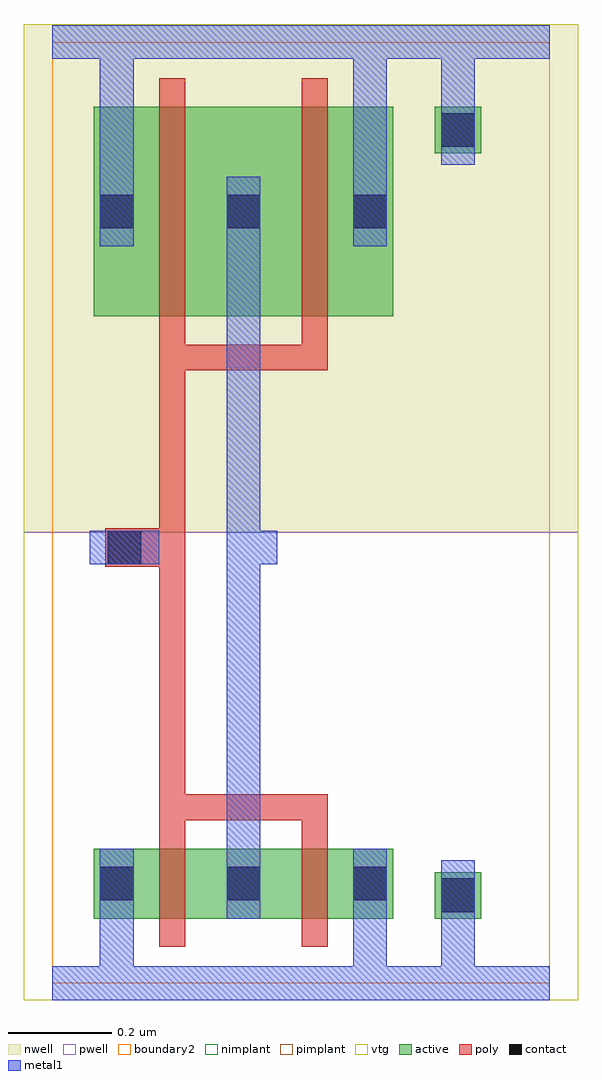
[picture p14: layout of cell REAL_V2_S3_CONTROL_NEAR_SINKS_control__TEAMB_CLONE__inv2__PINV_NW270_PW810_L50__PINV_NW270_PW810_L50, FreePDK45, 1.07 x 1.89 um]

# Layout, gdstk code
import gdstk
lib = gdstk.Library(unit=1e-6, precision=5e-10)
def R(c, l, rs):  # rectangles x0, y0, x1, y1
    for r in rs: c.add(gdstk.rectangle(r[:2], r[2:], *l))
active = (1, 0)
pwell = (2, 0)
nwell = (3, 0)
nimplant = (4, 0)
pimplant = (5, 0)
vtg = (6, 0)
poly = (9, 0)
contact = (10, 0)
metal1 = (11, 0)
boundary2 = (239, 0)

real_v2_s3_control_near_ = lib.new_cell('REAL_V2_S3_CONTROL_NEAR_SINKS_control__TEAMB_CLONE__inv2__PINV_NW270_PW810_L50__TRANSMISSION_GATE_NW250_PW500_L50_contact_8')
R(real_v2_s3_control_near_, active, [(0,0.0225,0.09,0.1125), (0,0.0225,0.09,0.1125)])
R(real_v2_s3_control_near_, nwell, [(-0.055,-0.0325,0.145,0.1675), (-0.055,-0.0325,0.145,0.1675)])
R(real_v2_s3_control_near_, pimplant, [(0,0.0225,0.09,0.1125), (0,0.0225,0.09,0.1125)])
R(real_v2_s3_control_near_, contact, [(0.0125,0.035,0.0775,0.1), (0.0125,0.035,0.0775,0.1)])
R(real_v2_s3_control_near_, metal1, [(0.0125,0,0.0775,0.135), (0.0125,0,0.0775,0.135)])
R(real_v2_s3_control_near_, boundary2, [(-0.055,-0.0325,0.145,0.1675), (-0.055,-0.0325,0.145,0.1675)])

c_real_v2_s3_control_near_ = lib.new_cell('REAL_V2_S3_CONTROL_NEAR_SINKS_control__TEAMB_CLONE__inv2__PINV_NW270_PW810_L50__PINV_NW270_PW810_L50_pmos_m2_w0_405_sm1_dm1_da_p')
R(c_real_v2_s3_control_near_, active, [(0,0,0.58,0.405), (0,0,0.58,0.405)])
R(c_real_v2_s3_control_near_, nwell, [(-0.08,-0.08,0.66,0.485), (-0.08,-0.08,0.66,0.485)])
R(c_real_v2_s3_control_near_, pimplant, [(0,0,0.58,0.405), (0,0,0.58,0.405)])
R(c_real_v2_s3_control_near_, vtg, [(-0.08,-0.08,0.66,0.485), (-0.08,-0.08,0.66,0.485)])
R(c_real_v2_s3_control_near_, poly, [(0.1275,-0.105,0.4525,-0.055), (0.1275,-0.105,0.4525,-0.055), (0.1275,-0.055,0.1775,0.46), (0.1275,-0.055,0.1775,0.46), (0.4025,-0.055,0.4525,0.46), (0.4025,-0.055,0.4525,0.46)])
R(c_real_v2_s3_control_near_, metal1, [(0.0125,0.135,0.0775,0.27), (0.0125,0.135,0.0775,0.27), (0.2575,0.135,0.3225,0.27), (0.2575,0.135,0.3225,0.27), (0.5025,0.135,0.5675,0.27), (0.5025,0.135,0.5675,0.27)])
R(c_real_v2_s3_control_near_, boundary2, [(-0.08,-0.105,0.66,0.485), (-0.08,-0.105,0.66,0.485)])
c_real_v2_s3_control_near_.add(gdstk.Reference(real_v2_s3_control_near_, (0,0.135)))
c_real_v2_s3_control_near_.add(gdstk.Reference(real_v2_s3_control_near_, (0.245,0.135)))
c_real_v2_s3_control_near_.add(gdstk.Reference(real_v2_s3_control_near_, (0.49,0.135)))

c_real_v2_s3_control_near__ = lib.new_cell('REAL_V2_S3_CONTROL_NEAR_SINKS_control__TEAMB_CLONE__inv2__PINV_NW270_PW810_L50__TRANSMISSION_GATE_NW250_PW500_L50_contact_7')
R(c_real_v2_s3_control_near__, active, [(0,0.0225,0.09,0.1125), (0,0.0225,0.09,0.1125)])
R(c_real_v2_s3_control_near__, pwell, [(-0.055,-0.0325,0.145,0.1675), (-0.055,-0.0325,0.145,0.1675)])
R(c_real_v2_s3_control_near__, nimplant, [(0,0.0225,0.09,0.1125), (0,0.0225,0.09,0.1125)])
R(c_real_v2_s3_control_near__, contact, [(0.0125,0.035,0.0775,0.1), (0.0125,0.035,0.0775,0.1)])
R(c_real_v2_s3_control_near__, metal1, [(0.0125,0,0.0775,0.135), (0.0125,0,0.0775,0.135)])
R(c_real_v2_s3_control_near__, boundary2, [(-0.055,-0.0325,0.145,0.1675), (-0.055,-0.0325,0.145,0.1675)])

c_real_v2_s3_control_near___ = lib.new_cell('REAL_V2_S3_CONTROL_NEAR_SINKS_control__TEAMB_CLONE__inv2__PINV_NW270_PW810_L50__PINV_NW270_PW810_L50_nmos_m2_w0_135_sm1_dm1_da_p')
R(c_real_v2_s3_control_near___, active, [(0,0,0.58,0.135), (0,0,0.58,0.135)])
R(c_real_v2_s3_control_near___, pwell, [(-0.08,-0.08,0.66,0.215), (-0.08,-0.08,0.66,0.215)])
R(c_real_v2_s3_control_near___, nimplant, [(0,0,0.58,0.135), (0,0,0.58,0.135)])
R(c_real_v2_s3_control_near___, vtg, [(-0.08,-0.08,0.66,0.215), (-0.08,-0.08,0.66,0.215)])
R(c_real_v2_s3_control_near___, poly, [(0.1275,-0.055,0.1775,0.19), (0.1275,-0.055,0.1775,0.19), (0.4025,-0.055,0.4525,0.19), (0.4025,-0.055,0.4525,0.19), (0.1275,0.19,0.4525,0.24), (0.1275,0.19,0.4525,0.24)])
R(c_real_v2_s3_control_near___, metal1, [(0.0125,0,0.0775,0.135), (0.0125,0,0.0775,0.135), (0.2575,0,0.3225,0.135), (0.2575,0,0.3225,0.135), (0.5025,0,0.5675,0.135), (0.5025,0,0.5675,0.135)])
R(c_real_v2_s3_control_near___, boundary2, [(-0.08,-0.08,0.66,0.24), (-0.08,-0.08,0.66,0.24)])
c_real_v2_s3_control_near___.add(gdstk.Reference(c_real_v2_s3_control_near__, (0,0)))
c_real_v2_s3_control_near___.add(gdstk.Reference(c_real_v2_s3_control_near__, (0.245,0)))
c_real_v2_s3_control_near___.add(gdstk.Reference(c_real_v2_s3_control_near__, (0.49,0)))

c_real_v2_s3_control_near____ = lib.new_cell('REAL_V2_S3_CONTROL_NEAR_SINKS_control__TEAMB_CLONE__inv2__PINV_NW270_PW810_L50__TRANSMISSION_GATE_NW250_PW500_L50_contact_9')
R(c_real_v2_s3_control_near____, active, [(0,0.0225,0.09,0.1125), (0,0.0225,0.09,0.1125)])
R(c_real_v2_s3_control_near____, nwell, [(-0.055,-0.0325,0.145,0.1675), (-0.055,-0.0325,0.145,0.1675)])
R(c_real_v2_s3_control_near____, nimplant, [(0,0.0225,0.09,0.1125), (0,0.0225,0.09,0.1125)])
R(c_real_v2_s3_control_near____, contact, [(0.0125,0.035,0.0775,0.1), (0.0125,0.035,0.0775,0.1)])
R(c_real_v2_s3_control_near____, metal1, [(0.0125,0,0.0775,0.135), (0.0125,0,0.0775,0.135)])
R(c_real_v2_s3_control_near____, boundary2, [(-0.055,-0.0325,0.145,0.1675), (-0.055,-0.0325,0.145,0.1675)])

c_real_v2_s3_control_near_____ = lib.new_cell('REAL_V2_S3_CONTROL_NEAR_SINKS_control__TEAMB_CLONE__inv2__PINV_NW270_PW810_L50__TRANSMISSION_GATE_NW250_PW500_L50_contact_10')
R(c_real_v2_s3_control_near_____, active, [(0,0.0225,0.09,0.1125), (0,0.0225,0.09,0.1125)])
R(c_real_v2_s3_control_near_____, pwell, [(-0.055,-0.0325,0.145,0.1675), (-0.055,-0.0325,0.145,0.1675)])
R(c_real_v2_s3_control_near_____, pimplant, [(0,0.0225,0.09,0.1125), (0,0.0225,0.09,0.1125)])
R(c_real_v2_s3_control_near_____, contact, [(0.0125,0.035,0.0775,0.1), (0.0125,0.035,0.0775,0.1)])
R(c_real_v2_s3_control_near_____, metal1, [(0.0125,0,0.0775,0.135), (0.0125,0,0.0775,0.135)])
R(c_real_v2_s3_control_near_____, boundary2, [(-0.055,-0.0325,0.145,0.1675), (-0.055,-0.0325,0.145,0.1675)])

c_real_v2_s3_control_near______ = lib.new_cell('REAL_V2_S3_CONTROL_NEAR_SINKS_control__TEAMB_CLONE__inv2__PINV_NW270_PW810_L50__PINV_NW180_PW270_L50_contact_11')
R(c_real_v2_s3_control_near______, poly, [(0.03,0,0.105,0.075), (0.03,0,0.105,0.075)])
R(c_real_v2_s3_control_near______, contact, [(0.035,0.005,0.1,0.07), (0.035,0.005,0.1,0.07)])
R(c_real_v2_s3_control_near______, metal1, [(0,0.005,0.135,0.07), (0,0.005,0.135,0.07)])
R(c_real_v2_s3_control_near______, boundary2, [(0,0,0.135,0.075), (0,0,0.135,0.075)])

c_real_v2_s3_control_near_______ = lib.new_cell('REAL_V2_S3_CONTROL_NEAR_SINKS_control__TEAMB_CLONE__inv2__PINV_NW270_PW810_L50__PINV_NW270_PW810_L50_core')
R(c_real_v2_s3_control_near_______, pwell, [(-0.055,-0.0325,1.0175,0.8725), (-0.055,-0.0325,1.0175,0.8725)])
R(c_real_v2_s3_control_near_______, nwell, [(-0.055,0.8725,1.0175,1.855), (-0.055,0.8725,1.0175,1.855)])
R(c_real_v2_s3_control_near_______, vtg, [(-0.055,-0.0325,1.0175,0.8725), (-0.055,-0.0325,1.0175,0.8725), (-0.055,0.8725,1.0175,1.855), (-0.055,0.8725,1.0175,1.855)])
R(c_real_v2_s3_control_near_______, poly, [(0.2075,0.365,0.2575,1.185), (0.2075,0.365,0.2575,1.185), (0.14,0.805,0.2075,0.88), (0.14,0.805,0.2075,0.88)])
R(c_real_v2_s3_control_near_______, metal1, [(0,-0.0325,0.9625,0.0325), (0,-0.0325,0.9625,0.0325), (0.0925,-0.0325,0.1575,0.125), (0.0925,-0.0325,0.1575,0.125), (0.5825,-0.0325,0.6475,0.125), (0.5825,-0.0325,0.6475,0.125), (0.7525,0,0.8175,0.17), (0.7525,0,0.8175,0.17), (0.3375,0.125,0.4025,1.56), (0.3375,0.125,0.4025,1.56), (0.0725,0.81,0.2075,0.875), (0.0725,0.81,0.2075,0.875), (0.37,0.81,0.435,0.875), (0.37,0.81,0.435,0.875), (0.0925,1.425,0.1575,1.8525), (0.0925,1.425,0.1575,1.8525), (0.5825,1.425,0.6475,1.8525), (0.5825,1.425,0.6475,1.8525), (0.7525,1.65,0.8175,1.82), (0.7525,1.65,0.8175,1.82), (0,1.7875,0.9625,1.8525), (0,1.7875,0.9625,1.8525)])
R(c_real_v2_s3_control_near_______, boundary2, [(0,0,0.9625,1.82), (0,0,0.9625,1.82), (0,0,0.9625,1.82), (0,0,0.9625,1.82)])
c_real_v2_s3_control_near_______.add(gdstk.Reference(c_real_v2_s3_control_near_, (0.08,1.29)))
c_real_v2_s3_control_near_______.add(gdstk.Reference(c_real_v2_s3_control_near___, (0.08,0.125)))
c_real_v2_s3_control_near_______.add(gdstk.Reference(c_real_v2_s3_control_near____, (0.74,1.5825)))
c_real_v2_s3_control_near_______.add(gdstk.Reference(c_real_v2_s3_control_near_____, (0.74,0.1025)))
c_real_v2_s3_control_near_______.add(gdstk.Reference(c_real_v2_s3_control_near______, (0.0725,0.805)))

c_real_v2_s3_control_near________ = lib.new_cell('REAL_V2_S3_CONTROL_NEAR_SINKS_control__TEAMB_CLONE__inv2__PINV_NW270_PW810_L50__PINV_NW270_PW810_L50')
R(c_real_v2_s3_control_near________, metal1, [(0,-0.0325,0.9625,0.0325), (0,-0.0325,0.9625,0.0325), (0.0725,0.81,0.2075,0.875), (0.0725,0.81,0.2075,0.875), (0.37,0.81,0.435,0.875), (0.37,0.81,0.435,0.875), (0,1.7875,0.9625,1.8525), (0,1.7875,0.9625,1.8525)])
R(c_real_v2_s3_control_near________, boundary2, [(0,0,0.9625,1.82), (0,0,0.9625,1.82)])
c_real_v2_s3_control_near________.add(gdstk.Reference(c_real_v2_s3_control_near_______, (0,0)))

lib.write_gds('REAL_V2_S3_CONTROL_NEAR_SINKS_control__TEAMB_CLONE__inv2__PINV_NW270_PW810_L50__PINV_NW270_PW810_L50.gds')
